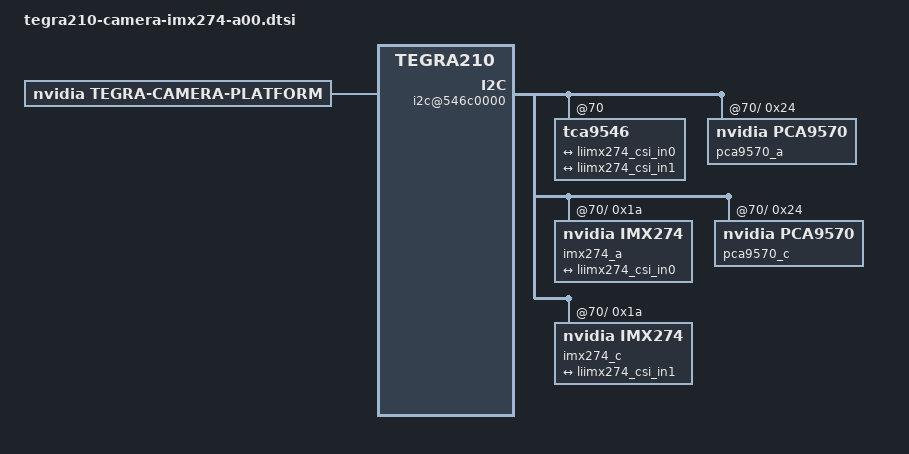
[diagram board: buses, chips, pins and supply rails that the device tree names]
/*
 * Copyright (c) 2016-2017, NVIDIA CORPORATION.  All rights reserved.
 *
 * This program is free software; you can redistribute it and/or modify
 * it under the terms of the GNU General Public License as published by
 * the Free Software Foundation; either version 2 of the License, or
 * (at your option) any later version.
 *
 * This program is distributed in the hope that it will be useful, but WITHOUT
 * ANY WARRANTY; without even the implied warranty of MERCHANTABILITY or
 * FITNESS FOR A PARTICULAR PURPOSE.  See the GNU General Public License for
 * more details.
 *
 * You should have received a copy of the GNU General Public License
 * along with this program.  If not, see <http://www.gnu.org/licenses/>.
 */

#include <dt-bindings/media/camera.h>
#include <dt-bindings/platform/t210/t210.h>

/ {
	host1x {
		vi {
			num-channels = <2>;
			ports {
				#address-cells = <1>;
				#size-cells = <0>;
				port@0 {
					reg = <0>;
					liimx274_vi_in0: endpoint {
						csi-port = <0>;
						bus-width = <4>;
						remote-endpoint = <&liimx274_csi_out0>;
					};
				};
				port@1 {
					reg = <1>;
					liimx274_vi_in1: endpoint {
						csi-port = <1>;
						bus-width = <4>;
						remote-endpoint = <&liimx274_csi_out1>;
					};
				};
				
			};
		};

		nvcsi {
			num-channels = <2>;
			#address-cells = <1>;
			#size-cells = <0>;
			channel@0 {
				reg = <0>;
				ports {
					#address-cells = <1>;
					#size-cells = <0>;
					port@0 {
						reg = <0>;
						liimx274_csi_in0: endpoint@0 {
							csi-port = <0>;
							bus-width = <4>;
							remote-endpoint = <&liimx274_imx274_out0>;
						};
					};
					port@1 {
						reg = <1>;
						liimx274_csi_out0: endpoint@1 {
							remote-endpoint = <&liimx274_vi_in0>;
						};
					};
				};
			};
			channel@1 {
				reg = <1>;
				ports {
					#address-cells = <1>;
					#size-cells = <0>;
					port@0 {
						reg = <0>;
						liimx274_csi_in1: endpoint@0 {
							csi-port = <2>;
							bus-width = <4>;
							remote-endpoint = <&liimx274_imx274_out1>;
						};
					};
					port@1 {
						reg = <1>;
						liimx274_csi_out1: endpoint@1 {
							remote-endpoint = <&liimx274_vi_in1>;
						};
					};
				};
			};
			
		};

		i2c@546c0000 {
			tca9546@70 {
				i2c@0 {
					pca9570_a@24 {
						compatible = "nvidia,pca9570";
						reg = <0x24>;
						channel = "a";
						drive_ic = "DRV8838";
					};
					imx274_a@1a {
						compatible = "nvidia,imx274";
						/* I2C device address */
						reg = <0x1a>;

						/* Physical dimensions of sensor */
						physical_w = "3.674";
						physical_h = "2.738";

						/* Define any required hw resources needed by driver */
						/* ie. clocks, io pins, power sources */
						/* imx274 sensor board does not get power from Tegra */
						/* avdd-reg = "vana"; */
						/* iovdd-reg = "vif"; */
						/* dvdd-reg = "vdig"; */

						/* Defines number of frames to be dropped by driver internally after applying */
						/* sensor crop settings. Some sensors send corrupt frames after applying */
						/* crop co-ordinates */
						/*post_crop_frame_drop = "0";*/

						/* if true, delay gain setting by one frame to be in sync with exposure */
						delayed_gain = "true";
						/* imx274 3864x2174 mode */
						mode0 {
							mclk_khz = "24000";
							num_lanes = "4";
							tegra_sinterface = "serial_a";
							discontinuous_clk = "yes";
							dpcm_enable = "false";
							cil_settletime = "0";

							dynamic_pixel_bit_depth = "10";
							csi_pixel_bit_depth = "10";
							mode_type = "bayer";
							pixel_phase = "rggb";
							pixel_t = "bayer_rggb";

							active_w = "3864";
							active_h = "2174";
							readout_orientation = "0";
//original							line_length = "2104";

							//line_length = "2080"; // hmax (260) * 8
							line_length = "4208"; // hmax (260) * 8

							inherent_gain = "1";
							mclk_multiplier = "25";
							pix_clk_hz = "576000000";

							min_gain_val = "1.0";
							max_gain_val = "22.0";
							min_hdr_ratio = "1";
							max_hdr_ratio = "64";
							min_framerate = "2.9658";
							max_framerate = "30";
	
//original							max_framerate = "60";
							min_exp_time = "3.653";
							max_exp_time = "333227";
						};
						/* imx274 1932x1094 mode */
						mode1 {
							mclk_khz = "24000";
							num_lanes = "4";
							tegra_sinterface = "serial_a";
							discontinuous_clk = "yes";
							dpcm_enable = "false";
							cil_settletime = "0";

							dynamic_pixel_bit_depth = "10";
							csi_pixel_bit_depth = "10";
							mode_type = "bayer";
							pixel_phase = "rggb";
							pixel_t = "bayer_rggb";

							active_w = "1932";
							active_h = "1094";
							readout_orientation = "0";
							line_length = "2080";
							inherent_gain = "1";
							mclk_multiplier = "25";
							pix_clk_hz = "576000000";

							min_gain_val = "1.0";
							max_gain_val = "22.0";
							min_hdr_ratio = "1";
							max_hdr_ratio = "64";
							min_framerate = "3";
							max_framerate = "120";
							min_exp_time = "3.611";
							max_exp_time = "333277";
						};
						/* imx274 1288x734 mode */
						mode2 {
							mclk_khz = "24000";
							num_lanes = "4";
							tegra_sinterface = "serial_a";
							discontinuous_clk = "yes";
							dpcm_enable = "false";
							cil_settletime = "0";

							dynamic_pixel_bit_depth = "10";
							csi_pixel_bit_depth = "10";
							mode_type = "bayer";
							pixel_phase = "rggb";
							pixel_t = "bayer_rggb";

							active_w = "1288";
							active_h = "734";
							readout_orientation = "0";
							line_length = "2080";
							inherent_gain = "1";
							mclk_multiplier = "25";
							pix_clk_hz = "576000000";

							min_gain_val = "1.0";
							max_gain_val = "22.0";
							min_hdr_ratio = "1";
							max_hdr_ratio = "64";
							min_framerate = "3";
							max_framerate = "120";
							min_exp_time = "3.611";
							max_exp_time = "333277";
						};
						/* imx274 1288x546 mode */
						mode3 {
							mclk_khz = "24000";
							num_lanes = "4";
							tegra_sinterface = "serial_a";
							discontinuous_clk = "yes";
							dpcm_enable = "false";
							cil_settletime = "0";

							dynamic_pixel_bit_depth = "10";
							csi_pixel_bit_depth = "10";
							mode_type = "bayer";
							pixel_phase = "rggb";
							pixel_t = "bayer_rggb";

							active_w = "1288";
							active_h = "546";
							readout_orientation = "0";
							line_length = "2080";
							inherent_gain = "1";
							mclk_multiplier = "25";
							pix_clk_hz = "576000000";

							min_gain_val = "1.0";
							max_gain_val = "22.0";
							min_hdr_ratio = "1";
							max_hdr_ratio = "64";
							min_framerate = "3";
							max_framerate = "240";
							min_exp_time = "3.611";
							max_exp_time = "333277";
						};
						/* imx274 3864x2174 12 bit mode */
						mode4 {
							mclk_khz = "24000";
							num_lanes = "4";
							tegra_sinterface = "serial_a";
							discontinuous_clk = "yes";
							dpcm_enable = "false";
							cil_settletime = "0";

							dynamic_pixel_bit_depth = "12";
							csi_pixel_bit_depth = "12";
							mode_type = "bayer";
							pixel_phase = "rggb";
							pixel_t = "bayer_rggb";

		                                        embedded_metadata_height = "1";

							active_w = "3864";
							active_h = "2202";
							readout_orientation = "0";
							line_length = "2104";
							inherent_gain = "1";
							mclk_multiplier = "25";
							pix_clk_hz = "576000000";

							min_gain_val = "1.0";
							max_gain_val = "22.0";
							min_hdr_ratio = "1";
							max_hdr_ratio = "64";
							min_framerate = "2.9658";
							max_framerate = "30";
							min_exp_time = "3.653";
							max_exp_time = "333227";
						};
						ports {
							#address-cells = <1>;
							#size-cells = <0>;
							port@0 {
								reg = <0>;
								liimx274_imx274_out0: endpoint {
									csi-port = <0>;
									bus-width = <4>;
									remote-endpoint = <&liimx274_csi_in0>;
								};
							};
						};
					};
				};
				i2c@1 {
					pca9570_c@24 {
						compatible = "nvidia,pca9570";
						reg = <0x24>;
						channel = "c";
						drive_ic = "DRV8838";
					};

					imx274_c@1a {
						compatible = "nvidia,imx274";
						/* I2C device address */
						reg = <0x1a>;

						/* Physical dimensions of sensor */
						physical_w = "3.674";
						physical_h = "2.738";

						/* imx274 sensor board does not get power from Tegra */
						/* avdd-reg = "vana"; */
						/* iovdd-reg = "vif"; */
						/* dvdd-reg = "vdig"; */

						/* Defines number of frames to be dropped by driver internally after applying */
						/* sensor crop settings. Some sensors send corrupt frames after applying */
						/* crop co-ordinates */
						/*post_crop_frame_drop = "0";*/

						/* if true, delay gain setting by one frame to be in sync with exposure */
						delayed_gain = "true";

						/* imx274 3864x2174 mode*/
						mode0 {
							mclk_khz = "24000";
							num_lanes = "4";
							tegra_sinterface = "serial_c";
							discontinuous_clk = "yes";
							dpcm_enable = "false";
							cil_settletime = "0";

							dynamic_pixel_bit_depth = "10";
							csi_pixel_bit_depth = "10";
							mode_type = "bayer";
							pixel_phase = "rggb";
							pixel_t = "bayer_rggb";

							active_w = "3864";
							active_h = "2174";
							readout_orientation = "0";
//original							line_length = "2104";

							//line_length = "2080"; // hmax (260) * 8
							line_length = "4208"; // hmax (260) * 8
							inherent_gain = "1";
							mclk_multiplier = "25";
							pix_clk_hz = "576000000";

							min_gain_val = "1.0";
							max_gain_val = "22.0";
							min_hdr_ratio = "1";
							max_hdr_ratio = "64";
							min_framerate = "2.9658";
							max_framerate = "30";
//orig							max_framerate = "60";
							min_exp_time = "3.653";
							max_exp_time = "333277";
						};
						/* imx274 1932x1094 mode */
						mode1 {
							mclk_khz = "24000";
							num_lanes = "4";
							tegra_sinterface = "serial_c";
							discontinuous_clk = "yes";
							dpcm_enable = "false";
							cil_settletime = "0";

							dynamic_pixel_bit_depth = "10";
							csi_pixel_bit_depth = "10";
							mode_type = "bayer";
							pixel_phase = "rggb";
							pixel_t = "bayer_rggb";

							active_w = "1932";
							active_h = "1094";
							readout_orientation = "0";
							line_length = "2080";
							inherent_gain = "1";
							mclk_multiplier = "25";
							pix_clk_hz = "576000000";

							min_gain_val = "1.0";
							max_gain_val = "22.0";
							min_hdr_ratio = "1";
							max_hdr_ratio = "64";
							min_framerate = "3";
							max_framerate = "120";
							min_exp_time = "3.611";
							max_exp_time = "333277";
						};
						/* imx274 1288x734 mode */
						mode2 {
							mclk_khz = "24000";
							num_lanes = "4";
							tegra_sinterface = "serial_c";
							discontinuous_clk = "yes";
							dpcm_enable = "false";
							cil_settletime = "0";

							dynamic_pixel_bit_depth = "10";
							csi_pixel_bit_depth = "10";
							mode_type = "bayer";
							pixel_phase = "rggb";
							pixel_t = "bayer_rggb";

							active_w = "1288";
							active_h = "734";
							readout_orientation = "0";
							line_length = "2080";
							inherent_gain = "1";
							mclk_multiplier = "25";
							pix_clk_hz = "576000000";

							min_gain_val = "1.0";
							max_gain_val = "22.0";
							min_hdr_ratio = "1";
							max_hdr_ratio = "64";
							min_framerate = "3";
							max_framerate = "120";
							min_exp_time = "3.611";
							max_exp_time = "333277";
						};
						/* imx274 1288x546 mode */
						mode3 {
							mclk_khz = "24000";
							num_lanes = "4";
							tegra_sinterface = "serial_c";
							discontinuous_clk = "yes";
							dpcm_enable = "false";
							cil_settletime = "0";

							dynamic_pixel_bit_depth = "10";
							csi_pixel_bit_depth = "10";
							mode_type = "bayer";
							pixel_phase = "rggb";
							pixel_t = "bayer_rggb";

							active_w = "1288";
							active_h = "546";
							readout_orientation = "0";
							line_length = "2080";
							inherent_gain = "1";
							mclk_multiplier = "25";
							pix_clk_hz = "576000000";

							min_gain_val = "1.0";
							max_gain_val = "22.0";
							min_hdr_ratio = "1";
							max_hdr_ratio = "64";
							min_framerate = "3";
							max_framerate = "240";
							min_exp_time = "3.611";
							max_exp_time = "333277";
						};
						/* imx274 3864x2174 12 bit mode */
						mode4 {
							mclk_khz = "24000";
							num_lanes = "4";
							tegra_sinterface = "serial_a";
							discontinuous_clk = "yes";
							dpcm_enable = "false";
							cil_settletime = "0";

		                                        embedded_metadata_height = "1";

							dynamic_pixel_bit_depth = "12";
							csi_pixel_bit_depth = "12";
							mode_type = "bayer";
							pixel_phase = "rggb";
							pixel_t = "bayer_rggb";

							active_w = "3864";
							active_h = "2202";
							readout_orientation = "0";
							line_length = "2104";
							inherent_gain = "1";
							mclk_multiplier = "25";
							pix_clk_hz = "576000000";

							min_gain_val = "1.0";
							max_gain_val = "22.0";
							min_hdr_ratio = "1";
							max_hdr_ratio = "64";
							min_framerate = "2.9658";
							max_framerate = "30";
							min_exp_time = "3.653";
							max_exp_time = "333227";
						};
						ports {
							#address-cells = <1>;
							#size-cells = <0>;
							port@0 {
								reg = <0>;
								liimx274_imx274_out1: endpoint {
									csi-port = <2>;
									bus-width = <4>;
									remote-endpoint = <&liimx274_csi_in1>;
								};
							};
						};
					};
				};
			};
		};
	};
	lens_imx274@A6V26 {
		min_focus_distance = "0.0";
		hyper_focal = "0.0";
		focal_length = "5.00";
		f_number = "2.0";
		aperture = "2.2";
	};
};

/ {

	tegra-camera-platform {
		compatible = "nvidia, tegra-camera-platform";
		/**
		* Physical settings to calculate max ISO BW
		*
		* num_csi_lanes = <>;
		* Total number of CSI lanes when all cameras are active
		*
		* max_lane_speed = <>;
		* Max lane speed in Kbit/s
		*
		* min_bits_per_pixel = <>;
		* Min bits per pixel
		*
		* vi_peak_byte_per_pixel = <>;
		* Max byte per pixel for the VI ISO case
		*
		* vi_bw_margin_pct = <>;
		* Vi bandwidth margin in percentage
		*
		* max_pixel_rate = <>;
		* Max pixel rate in Kpixel/s for the ISP ISO case
		*
		* isp_peak_byte_per_pixel = <>;
		* Max byte per pixel for the ISP ISO case
		*
		* isp_bw_margin_pct = <>;
		* Isp bandwidth margin in percentage
		*/
		num_csi_lanes = <8>;
		max_lane_speed = <1500000>;
		min_bits_per_pixel = <10>;
		vi_peak_byte_per_pixel = <2>;
		vi_bw_margin_pct = <25>;
		max_pixel_rate = <750000>;
		isp_peak_byte_per_pixel = <5>;
		isp_bw_margin_pct = <25>;

		/**
		 * The general guideline for naming badge_info contains 3 parts, and is as follows,
		 * The first part is the camera_board_id for the module; if the module is in a FFD
		 * platform, then use the platform name for this part.
		 * The second part contains the position of the module, ex. "rear" or "front".
		 * The third part contains the last 6 characters of a part number which is found
		 * in the module's specsheet from the vender.
		 */
		modules {
			module2 {
				badge = "imx274_center_A6V26";
				position = "center";
				orientation = "1";
				drivernode0 {
					/* Declare PCL support driver (classically known as guid)  */
					pcl_id = "v4l2_sensor";
					/* Driver v4l2 device name */
					devname = "imx274 30-001a";
					/* Declare the device-tree hierarchy to driver instance */
					proc-device-tree = "/proc/device-tree/host1x/i2c@546c0000/tca9546@70/i2c@0/imx274_a@1a";
				};
				drivernode1 {
					/* Declare PCL support driver (classically known as guid)  */
					pcl_id = "v4l2_lens";
					proc-device-tree = "/proc/device-tree/lens_imx274@A6V26/";
				};
			};
			module1 {
				badge = "imx274_front_A6V26";
				position = "front";
				orientation = "1";
				drivernode0 {
					/* Declare PCL support driver (classically known as guid)  */
					pcl_id = "v4l2_sensor";
					/* Driver v4l2 device name */
					devname = "imx274 31-001a";
					/* Declare the device-tree hierarchy to driver instance */
					proc-device-tree = "/proc/device-tree/host1x/i2c@546c0000/tca9546@70/i2c@1/imx274_c@1a";
				};
			};
			
		};
	};
};
